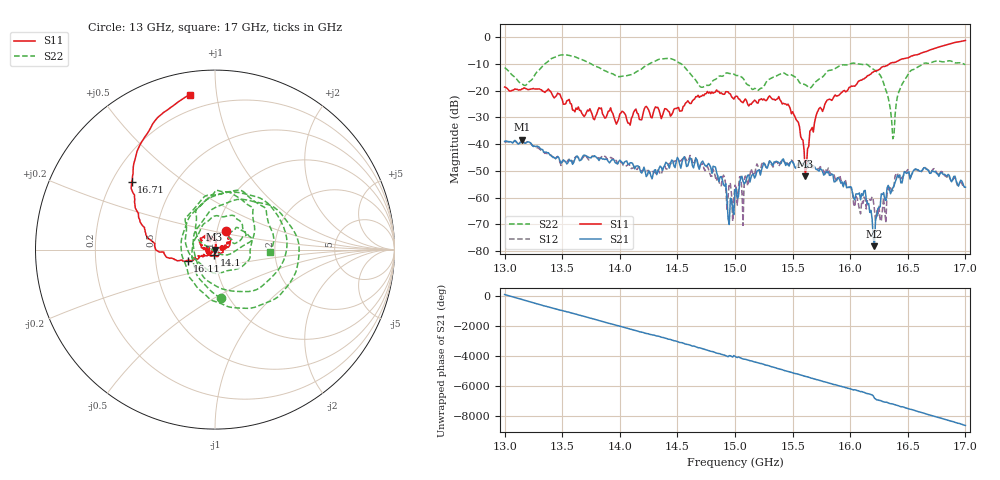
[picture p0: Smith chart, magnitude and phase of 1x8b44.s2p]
!Keysight Technologies,P9374A,MY57211807,A.19.30.04
!Date: Friday, May 08, 2026 14:28:37
!Correction: S11(C  2-Port  )
!S21(C  2-Port  )
!S12(C  2-Port  )
!S22(C  2-Port  )
!S2P File: Measurements: S11, S21, S12, S22:
# Hz S  dB  R 50
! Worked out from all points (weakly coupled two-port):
!   401 points, 13 GHz to 17 GHz, reference 50 ohm
!   highest |S21| = -38.32 dB at 13.15 GHz (marker M1); lowest = -78.2 dB at 16.21 GHz (marker M2)
!   lowest |S11| = -52.0 dB at 15.61 GHz (marker M3), VSWR 1.01, Z = 49.8 - j0.029 ohm
!   |S11| at or under -10 dB: start of sweep to 16.34 GHz
!   |S22| runs from -38.0 to -6.6 dB; largest |S21 - S12| = 0.0019
!   S11 on the Smith chart (normalised r, x): 13 GHz: 1.10, +0.23; 14.1 GHz: 0.99, -0.06; 16.11 GHz: 0.73, -0.09; 16.71 GHz: 0.28, +0.33; 17 GHz: 0.12, +0.84
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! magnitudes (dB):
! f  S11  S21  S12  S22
! 13 GHz  -18.6  -39.0  -39.2  -11.3
! 13.15 GHz  -19.3  -38.3  -38.1  -17.4
! 13.45 GHz  -21.9  -45.1  -44.9  -7.2
! 13.67 GHz  -28.4  -45.2  -45.7  -8.3
! 14.1 GHz  -30.5  -47.0  -49.1  -14.0
! 14.34 GHz  -27.2  -49.2  -50.1  -8.2
! 14.61 GHz  -24.8  -45.1  -44.2  -13.6
! 14.83 GHz  -20.5  -48.6  -52.5  -15.8
! 14.96 GHz  -21.2  -60.3  -54.8  -13.6
! 15 GHz  -22.3  -57.0  -55.4  -14.1
! 15.19 GHz  -24.5  -50.1  -47.4  -19.7
! 15.45 GHz  -25.4  -47.0  -46.5  -14.0
! 15.61 GHz  -52.0  -48.4  -48.9  -17.8
! 15.67 GHz  -33.7  -48.4  -48.9  -18.3
! 16.11 GHz  -15.7  -59.3  -62.2  -10.2
! 16.21 GHz  -12.7  -78.2  -64.4  -12.2
! 16.29 GHz  -10.9  -58.1  -60.0  -17.1
! 16.34 GHz  -10.0  -56.5  -57.5  -24.8
! 16.37 GHz  -9.4  -56.4  -57.5  -38.0
! 16.49 GHz  -7.7  -51.0  -50.2  -14.8
! 16.71 GHz  -4.5  -50.1  -49.9  -9.3
! 17 GHz  -1.2  -56.1  -56.0  -10.3
